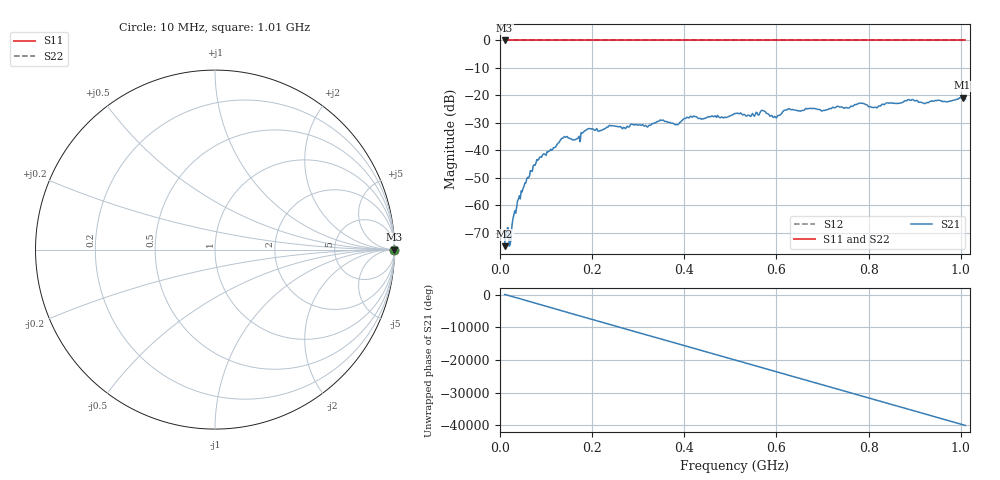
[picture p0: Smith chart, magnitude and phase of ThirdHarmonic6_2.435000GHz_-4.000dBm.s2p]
! 8/17/2025 4:14:37 AM
! C:\ANRITSUVNA\TEMP\TEMP.S2P
! CHANNEL.1
! TR.MEASUREMENT
! RAW.DATA
! RF.CORRECTION.OFF
! AVERAGING.OFF
! IF.BANDWIDTH: 5KHZ
! SWEEPTYPE:  FREQ.SWEEP(Linear)
! Reference Plane Port Info
! PORT:  PORT1  PORT2
! DISTANCE:  0  m  0  m
! TIME:  0  s  0  s
! PHASE.OFFSET:  0  deg.  0  deg.
! LOSS:  0  dB  0  dB
! REF.LOSS:  0  dB  0  dB
! REF.FREQ:  0  Hz  0  Hz
! Power Info
! POWER:  -20  dBm  -20  dBm
! EFF.POWER:  -20  dBm  -20  dBm
! SOURCE.ATTEN:  0  dB  0  dB
! TEST.ATTEN:  0  dB  0  dB
# GHZ S RI R 50.0
! FREQ.GHZ  S11RE  S11IM  S21RE  S21IM  S12RE  S12IM  S22RE  S22IM
!; PortSelection: Port_12
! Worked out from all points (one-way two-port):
!   501 points, 10 MHz to 1.01 GHz, reference 50 ohm
!   highest |S21| = -20.83 dB at 1.004 GHz (marker M1); lowest = -74.8 dB at 10 MHz (marker M2)
!   lowest |S11| = 0.0 dB at 10 MHz (marker M3)
!   |S11| at or under -10 dB: nowhere
!   |S22| runs from 0.0 to 0.0 dB; largest |S21 - S12| = 1.1
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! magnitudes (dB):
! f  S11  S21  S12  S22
! 10 MHz  0.0  -74.8  0.0  0.0
! 14 MHz  0.0  -71.2  0.0  0.0
! 24 MHz  0.0  -72.1  0.0  0.0
! 30 MHz  0.0  -63.5  0.0  0.0
! 42 MHz  0.0  -56.5  0.0  0.0
! 84 MHz  0.0  -43.3  0.0  0.0
! 136 MHz  0.0  -35.6  0.0  0.0
! 162 MHz  0.0  -36.1  0.0  0.0
! 178 MHz  0.0  -33.7  0.0  0.0
! 192 MHz  0.0  -32.1  0.0  0.0
! 322 MHz  0.0  -31.1  0.0  0.0
! 344 MHz  0.0  -29.4  0.0  0.0
! 384 MHz  0.0  -30.6  0.0  0.0
! 410 MHz  0.0  -28.2  0.0  0.0
! 510 MHz  0.0  -26.6  0.0  0.0
! 570 MHz  0.0  -25.5  0.0  0.0
! 596 MHz  0.0  -27.6  0.0  0.0
! 624 MHz  0.0  -25.0  0.0  0.0
! 678 MHz  0.0  -24.8  0.0  0.0
! 844 MHz  0.0  -22.8  0.0  0.0
! 1.004 GHz  0.0  -20.8  0.0  0.0
! 1.01 GHz  0.0  -21.3  0.0  0.0
